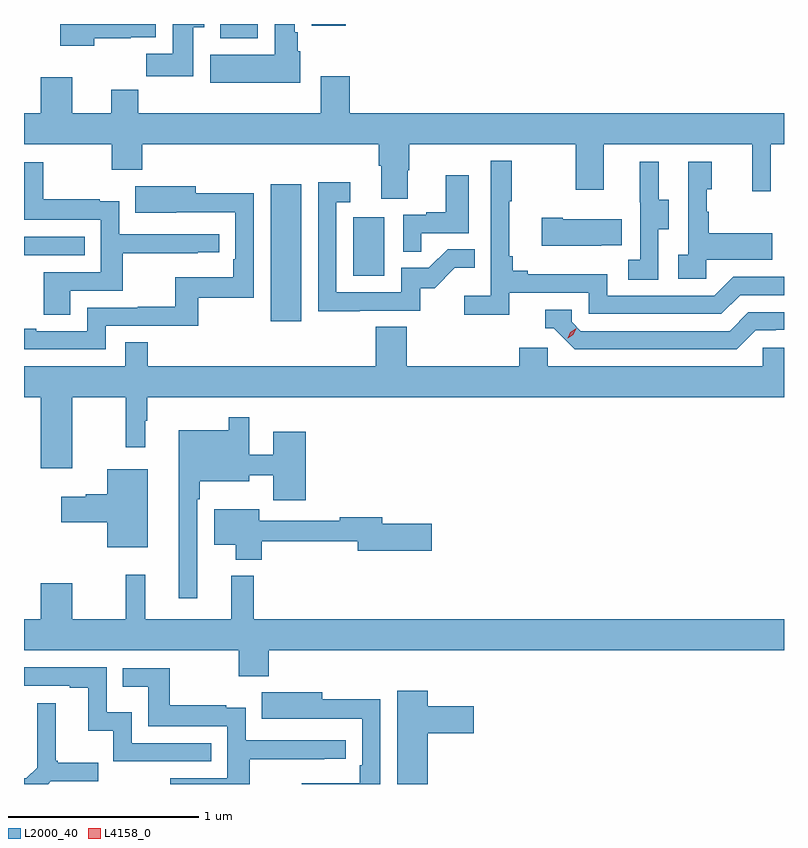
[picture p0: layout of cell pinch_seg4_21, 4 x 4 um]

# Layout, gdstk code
import gdstk
lib = gdstk.Library(unit=1e-6, precision=1e-09)
def R(c, l, rs):  # rectangles x0, y0, x1, y1
    for r in rs: c.add(gdstk.rectangle(r[:2], r[2:], *l))
def P(c, l, *ps):  # polygons
    for p in ps: c.add(gdstk.Polygon(p, *l))
L2000_40 = (2000, 40)
L4158_0 = (4158, 0)

pinch_seg4_21 = lib.new_cell('pinch_seg4_21')
R(pinch_seg4_21, L2000_40, [(1089.293,826.524,1089.454,827.245), (1089.728,826.764,1089.892,827.071), (1087.995,826.872,1088.315,826.968), (1089.029,828.014,1089.225,828.089), (1089.509,828.08,1089.688,828.089)])
P(pinch_seg4_21, L2000_40, [(1088.364,828.014),(1088.556,828.014),(1088.556,828.02),(1088.689,828.02),(1088.689,828.089),(1088.186,828.089),(1088.186,827.975),(1088.364,827.975)],
  [(1088.887,828.073),(1088.944,828.073),(1088.944,828.089),(1088.777,828.089),(1088.777,827.932),(1088.638,827.932),(1088.638,827.814),(1088.887,827.814)],
  [(1089.448,827.946),(1089.436,827.946),(1089.436,828.046),(1089.421,828.046),(1089.421,828.089),(1089.314,828.089),(1089.314,827.926),(1088.975,827.926),(1088.975,827.78),(1089.448,827.78)],
  [(1090.015,827.319),(1090.023,827.319),(1090.023,827.456),(1090.9,827.456),(1090.9,827.217),(1091.047,827.217),(1091.047,827.456),(1091.828,827.456),(1091.828,827.208),(1091.925,827.208),(1091.925,827.456),(1091.995,827.456),(1091.995,827.62),(1089.71,827.62),(1089.71,827.815),(1089.557,827.815),(1089.557,827.62),(1088.597,827.62),(1088.597,827.744),(1088.453,827.744),(1088.453,827.62),(1088.248,827.62),(1088.248,827.809),(1088.084,827.809),(1088.084,827.62),(1087.995,827.62),(1087.995,827.456),(1088.458,827.456),(1088.458,827.321),(1088.618,827.321),(1088.618,827.456),(1089.863,827.456),(1089.863,827.344),(1089.875,827.344),(1089.875,827.17),(1090.015,827.17)],
  [(1090.55,826.674),(1090.968,826.674),(1090.968,826.563),(1091.665,826.563),(1091.764,826.662),(1091.995,826.662),(1091.995,826.758),(1091.727,826.758),(1091.628,826.659),(1091.064,826.659),(1091.064,826.771),(1090.645,826.771),(1090.645,826.79),(1090.568,826.79),(1090.568,826.867),(1090.549,826.867),(1090.549,827.155),(1090.561,827.155),(1090.561,827.368),(1090.452,827.368),(1090.452,826.66),(1090.311,826.66),(1090.311,826.558),(1090.55,826.558)],
  [(1091.334,827.008),(1091.389,827.008),(1091.389,827.163),(1091.335,827.163),(1091.335,827.365),(1091.237,827.365),(1091.237,827.151),(1091.238,827.151),(1091.238,826.847),(1091.175,826.847),(1091.175,826.744),(1091.334,826.744)],
  [(1091.586,826.847),(1091.933,826.847),(1091.933,826.987),(1091.599,826.987),(1091.599,827.102),(1091.589,827.102),(1091.589,827.22),(1091.614,827.22),(1091.614,827.365),(1091.49,827.365),(1091.49,826.874),(1091.439,826.874),(1091.439,826.749),(1091.586,826.749)],
  [(1088.239,826.686),(1088.516,826.686),(1088.516,826.882),(1088.909,826.882),(1088.909,826.887),(1089.022,826.887),(1089.022,826.983),(1088.496,826.983),(1088.496,827.155),(1088.393,827.155),(1088.393,827.167),(1088.095,827.167),(1088.095,827.361),(1087.995,827.361),(1087.995,827.058),(1088.4,827.058),(1088.4,826.782),(1088.099,826.782),(1088.099,826.558),(1088.239,826.558)],
  [(1090.085,826.989),(1090.336,826.989),(1090.336,827.293),(1090.214,827.293),(1090.214,827.098),(1090.111,827.098),(1090.111,827.085),(1089.99,827.085),(1089.99,826.891),(1090.085,826.891)],
  [(1089.761,826.581),(1090.08,826.581),(1090.08,826.698),(1090.156,826.698),(1090.263,826.805),(1090.367,826.805),(1090.367,826.904),(1090.224,826.904),(1090.126,826.806),(1089.981,826.806),(1089.981,826.677),(1089.639,826.677),(1089.639,827.151),(1089.712,827.151),(1089.712,827.257),(1089.543,827.257),(1089.543,826.576),(1089.761,826.576)],
  [(1088.424,826.5),(1088.911,826.5),(1088.911,826.647),(1089.204,826.647),(1089.204,827.198),(1088.899,827.198),(1088.899,827.236),(1088.581,827.236),(1088.581,827.096),(1088.795,827.096),(1088.795,827.097),(1089.108,827.097),(1089.108,826.852),(1089.095,826.852),(1089.095,826.756),(1088.79,826.756),(1088.79,826.601),(1088.593,826.601),(1088.593,826.596),(1088.328,826.596),(1088.328,826.473),(1088.059,826.473),(1088.059,826.486),(1087.995,826.486),(1087.995,826.377),(1088.424,826.377)],
  [(1091.033,826.925),(1091.141,826.925),(1091.141,827.062),(1090.831,827.062),(1090.831,827.07),(1090.719,827.07),(1090.719,826.922),(1091.033,826.922)],
  [(1091.845,826.476),(1091.952,826.476),(1091.952,826.479),(1091.995,826.479),(1091.995,826.572),(1091.808,826.572),(1091.709,826.473),(1090.926,826.473),(1090.878,826.521),(1090.878,826.584),(1090.739,826.584),(1090.739,826.488),(1090.782,826.488),(1090.893,826.377),(1091.746,826.377)],
  [(1088.248,826.124),(1088.53,826.124),(1088.53,825.861),(1088.632,825.861),(1088.632,826.001),(1088.644,826.001),(1088.644,826.124),(1091.995,826.124),(1091.995,826.386),(1091.883,826.386),(1091.883,826.288),(1090.752,826.288),(1090.752,826.386),(1090.601,826.386),(1090.601,826.288),(1090.01,826.288),(1090.01,826.496),(1089.845,826.496),(1089.845,826.288),(1088.645,826.288),(1088.645,826.415),(1088.529,826.415),(1088.529,826.288),(1087.995,826.288),(1087.995,826.124),(1088.084,826.124),(1088.084,825.75),(1088.248,825.75)],
  [(1088.907,825.587),(1088.92,825.587),(1088.92,825.683),(1089.181,825.683),(1089.181,825.713),(1089.308,825.713),(1089.308,825.582),(1089.479,825.582),(1089.479,825.943),(1089.308,825.943),(1089.308,825.823),(1089.18,825.823),(1089.18,826.018),(1089.072,826.018),(1089.072,825.952),(1088.81,825.952),(1088.81,825.066),(1088.907,825.066)],
  [(1088.647,825.745),(1088.432,825.745),(1088.432,825.614),(1088.319,825.614),(1088.319,825.601),(1088.19,825.601),(1088.19,825.467),(1088.432,825.467),(1088.432,825.335),(1088.647,825.335)],
  [(1089.245,825.366),(1089.752,825.366),(1089.752,825.316),(1090.141,825.316),(1090.141,825.458),(1089.88,825.458),(1089.88,825.494),(1089.656,825.494),(1089.656,825.474),(1089.232,825.474),(1089.232,825.535),(1088.996,825.535),(1088.996,825.347),(1089.11,825.347),(1089.11,825.269),(1089.245,825.269)],
  [(1089.284,824.792),(1091.995,824.792),(1091.995,824.956),(1089.203,824.956),(1089.203,825.184),(1089.086,825.184),(1089.086,824.956),(1088.633,824.956),(1088.633,825.19),(1088.53,825.19),(1088.53,824.956),(1088.248,824.956),(1088.248,825.145),(1088.084,825.145),(1088.084,824.956),(1087.995,824.956),(1087.995,824.792),(1089.124,824.792),(1089.124,824.657),(1089.284,824.657)],
  [(1088.981,824.304),(1088.562,824.304),(1088.562,824.467),(1088.43,824.467),(1088.43,824.703),(1087.995,824.703),(1087.995,824.607),(1088.237,824.607),(1088.237,824.595),(1088.333,824.595),(1088.333,824.369),(1088.466,824.369),(1088.466,824.208),(1088.981,824.208)],
  [(1089.182,824.218),(1089.575,824.218),(1089.575,824.223),(1089.688,824.223),(1089.688,824.319),(1089.162,824.319),(1089.162,824.491),(1089.059,824.491),(1089.059,824.503),(1088.761,824.503),(1088.761,824.697),(1088.515,824.697),(1088.515,824.6),(1088.65,824.6),(1088.65,824.394),(1089.066,824.394),(1089.066,824.118),(1088.765,824.118),(1088.765,824.089),(1089.182,824.089)],
  [(1090.12,824.357),(1090.363,824.357),(1090.363,824.499),(1090.12,824.499),(1090.12,824.581),(1089.959,824.581),(1089.959,824.089),(1090.12,824.089)],
  [(1089.87,824.534),(1089.565,824.534),(1089.565,824.572),(1089.247,824.572),(1089.247,824.432),(1089.461,824.432),(1089.461,824.433),(1089.774,824.433),(1089.774,824.188),(1089.761,824.188),(1089.761,824.092),(1089.456,824.092),(1089.456,824.089),(1089.87,824.089)],
  [(1088.136,824.103),(1088.386,824.103),(1088.386,824.2),(1088.173,824.2),(1088.173,824.212),(1088.161,824.212),(1088.161,824.515),(1088.064,824.515),(1088.064,824.175),(1088.007,824.118),(1087.995,824.118),(1087.995,824.089),(1088.122,824.089)])
P(pinch_seg4_21, L4158_0, [(1090.856,826.434),(1090.856,826.434),(1090.871,826.467),(1090.902,826.487),(1090.902,826.487),(1090.902,826.487),(1090.886,826.454),(1090.856,826.434)])

lib.write_gds('pinch_seg4_21.gds')
